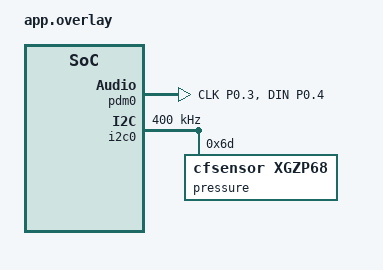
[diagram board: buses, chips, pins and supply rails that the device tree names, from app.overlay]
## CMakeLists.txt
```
cmake_minimum_required(VERSION 3.20.0)
find_package(Zephyr REQUIRED HINTS $ENV{ZEPHYR_BASE})

project(test)

include_directories(src)
file(GLOB C_SOURCES "src/*.c")
target_sources(app PRIVATE ${C_SOURCES})
```

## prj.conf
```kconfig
# PDM setup
CONFIG_AUDIO=y
CONFIG_AUDIO_DMIC=y

#LOG subsystem related configs
CONFIG_LOG=y

#net buf options
CONFIG_NET_BUF=y

CONFIG_STDOUT_CONSOLE=y
CONFIG_RING_BUFFER=y

# Math functions from CMSIS-DSP
CONFIG_CMSIS_DSP=y
CONFIG_CMSIS_DSP_TRANSFORM=y
CONFIG_CMSIS_DSP_COMPLEXMATH=y
CONFIG_CMSIS_DSP_STATISTICS=y
CONFIG_CMSIS_DSP_FILTERING=y

CONFIG_TIMING_FUNCTIONS=y

CONFIG_THREAD_NAME=y

CONFIG_SYSTEM_WORKQUEUE_STACK_SIZE=17000
```

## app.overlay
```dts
&pinctrl {
	pdm0_default_alt: pdm0_default_alt {
		group1 {
			psels = <NRF_PSEL(PDM_CLK, 0, 3)>,
				<NRF_PSEL(PDM_DIN, 0, 4)>;
		};
	};
};

dmic_dev: &pdm0 {
	status = "okay";
	pinctrl-0 = <&pdm0_default_alt>;
	pinctrl-names = "default";
	clock-source = "PCLK32M_HFXO";
	queue-size = <16>;
};

&i2c0 {
	compatible = "nordic,nrf-twim";
	status = "okay";
	pinctrl-0 = <&i2c0_default>;
	pinctrl-1 = <&i2c0_sleep>;
	pinctrl-names = "default", "sleep";
	clock-frequency = <I2C_BITRATE_FAST>;
	pressure: xgzp68@6D {
		compatible = "cfsensor,xgzp68";
		status = "okay";
		reg = <0x6D>;
	};
};
```

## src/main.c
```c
#include <zephyr/kernel.h>
#include <zephyr/timing/timing.h>
#include <tmi/api/pressure.h>

#include <zephyr/sys/ring_buffer.h>

#include "audio_settings.h"

static const struct device * pdm_dev = DEVICE_DT_GET(DT_NODELABEL(dmic_dev));
static const struct device * pressure_dev = DEVICE_DT_GET(DT_NODELABEL(pressure));

// -----------------------------------
// PDM microphone
// -----------------------------------
K_MEM_SLAB_DEFINE_STATIC(mem_slab, BLOCK_SIZE, BLOCK_COUNT, 4);
RING_BUF_ITEM_DECLARE_POW2(pdm_ring_buf, 15);

static int pdm_init(const struct device* dev) {
	int ret;

	struct pcm_stream_cfg stream = {
		.pcm_rate = SAMPLE_FREQUENCY,
		.pcm_width = SAMPLE_BIT_WIDTH,
		.block_size = BLOCK_SIZE,
		.mem_slab  = &mem_slab
	};

	struct dmic_cfg cfg = {
		.io = {
			/* These fields can be used to limit the PDM clock
				* configurations that the driver is allowed to use
				* to those supported by the microphone.
				*/
			.min_pdm_clk_freq = 1000000,
			.max_pdm_clk_freq = 4800000,
			.min_pdm_clk_dc   = 40, // Clk duty cycle, min: 40%, max: 60%
			.max_pdm_clk_dc   = 60
		},
		.streams = &stream,
		.channel = {
			.req_num_chan = 2,
			.req_num_streams = 1
		},
	};

	cfg.channel.req_chan_map_lo = dmic_build_channel_map(1, 0, PDM_CHAN_LEFT) | dmic_build_channel_map(0, 0, PDM_CHAN_RIGHT);

	printk("PCM output rate: %u, channels: %u", cfg.streams[0].pcm_rate, cfg.channel.req_num_chan);

	ret = dmic_configure(dev, &cfg);
	if (ret < 0) {
		printk("Failed to configure the driver: %d", ret);
		return ret;
	}

	ret = dmic_trigger(dev, DMIC_TRIGGER_START);
	if (ret < 0) {
		printk("START trigger failed: %d", ret);
		return ret;
	}

	return 0;
}

static int pdm_stop(const struct device* dev){
	int ret;
	ret = dmic_trigger(dev, DMIC_TRIGGER_STOP);
	return ret;
}

// -----------------------------------
// CF Sensor
// -----------------------------------

#define MY_STACK_SIZE 32000
#define MY_PRIORITY -2

K_THREAD_STACK_DEFINE(my_stack_area, MY_STACK_SIZE);

struct k_work_q my_work_q;

// Data management
float pressure_buf[16];
int count = 0;

extern int pressure_window_length;
extern int audio_window_length;
extern void predict_actuation(const int16_t* audio_data, const int audio_window_size, const float* pressure_data);

void buffer_pressure() {
	float pressure;
	//int64_t us = k_uptime_ticks() * 1000000LL / CONFIG_SYS_CLOCK_TICKS_PER_SEC;
	pressure_get(pressure_dev, &pressure);
	pressure_buf[count] = pressure;
	count++;
	// printk("%f\n", (double)pressure);

	if (count == 16){
		printk("Enough pressure data collected\n");
		// Make a copy of pressure buffer
		float tmp_pressure_buf[pressure_window_length];
		for(int i=0; i < 15; ++i){
			tmp_pressure_buf[i] = pressure_buf[i];
		}
		// Reset buf counter
		count = 0;

		printk("Retrieve audio data\n");
		// Get audio data window
		int16_t aud_buf[audio_window_length];		// NOTE: this is slightly confusing, but audio_window_length is the number of samples per window AFTER down-sampling
		int aud_bytes = ring_buf_get(&pdm_ring_buf, (uint8_t*)aud_buf, sizeof(aud_buf));

		printk("Start prediction function\n");
		// Create a thread to handle actuation prediction
		predict_actuation(aud_buf, (int)(aud_bytes/sizeof(int16_t)), tmp_pressure_buf);
	}
}

K_WORK_DEFINE(pressure_work, buffer_pressure);

void pressure_timer_handler(struct k_timer *dummy) {
    k_work_submit_to_queue(&my_work_q, &pressure_work);
}

K_TIMER_DEFINE(pressure_timer, pressure_timer_handler, NULL);

// -----------------------------------
// PDM mic audio collection thread management
// -----------------------------------
k_tid_t audio_tid = NULL;
struct k_thread audio_thread_data;

#define AUDIO_STACK_SIZE 5000
#define AUDIO_PRIORITY   -2

K_THREAD_STACK_DEFINE(audio_stack_area, AUDIO_STACK_SIZE);

/**
 * @brief Audio collection storage loop
 */
static void ac_subsys(const struct device* dev){
	int ret;

	while(1) {
		/* Read data from PDM microphone */
		uint8_t *buffer = NULL;
		uint32_t size = 0;

		ret = dmic_read(dev, 0, (void *)&buffer, &size, READ_TIMEOUT);
		if (ret < 0) {
			printk("read failed: %d\n", ret);
			return;
		}

		/* Copy data to ring buffer */
		ret = ring_buf_put(&pdm_ring_buf, buffer, size); // Returns number of bytes copied to ring buffer
		k_mem_slab_free(&mem_slab, (void *)buffer);
	}

	ret = pdm_stop(dev);
	if(ret < 0) {
		return;
	}
}

int ac_init_thread(const struct device* dev){
	int ret;
	ret = pdm_init(dev);

	audio_tid = k_thread_create(&audio_thread_data, audio_stack_area, 
								K_THREAD_STACK_SIZEOF(audio_stack_area), 
								(k_thread_entry_t)ac_subsys, 
								dev, NULL, NULL, AUDIO_PRIORITY, 0, K_MSEC(0));
    k_thread_name_set(&audio_thread_data, "Audio RX");

	return ret;
}

void ac_deinit_thread(){
	k_thread_join(audio_tid, K_MSEC(200));
	k_thread_abort(audio_tid);
}

int main(void) {
	printk("[LOG] Starting application...\n");
	int ret;

	/* Set up PDM microphone */
	printk("[LOG] PDM setup\n");

	ret = device_is_ready(pdm_dev);
	if (ret < 0) {
		printk("Device Microphone is not ready\n");
		return ret;
	}

	ret = device_is_ready(pressure_dev);
	if (ret < 0) {
		printk("Device CF Sensor is not ready\n");
		return ret;
	}

	printk("[LOG] Starting Audio thread\n");
	ret = ac_init_thread(pdm_dev);

	/* Set up pressure */
	printk("[LOG] Starting Pressure thread\n");
	k_work_queue_init(&my_work_q);
	k_work_queue_start(&my_work_q, my_stack_area,
					K_THREAD_STACK_SIZEOF(my_stack_area), MY_PRIORITY,
					NULL);
	k_timer_start(&pressure_timer, K_MSEC(5), K_MSEC(5));

	// Main while loop
	while(1){
		k_msleep(1000);
	}

	// Shouldn't reach here
	ac_deinit_thread();
	printk("[LOG] Ending application...");

	return ret;
}
```

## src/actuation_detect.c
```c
#include "actuation_detect.h"

void predict_actuation(const int16_t* audio_data, const int audio_data_cnt, const float* pressure_data){
    printk("Test\n");
    printk("%d\n", audio_data_cnt);
    // Error check
    if(audio_data_cnt != audio_window_length){
        return;
    }

    // When the first half-window of data is received store and do nothing
    if(first_window == 1){
        printk("First window received\n");
        first_window = 0;
        for(int i = 0; i < audio_data_cnt; ++i){
            prev_audio_window[i] = audio_data[i];
        }
        for(int i = 0; i < pressure_window_length; ++i){
            prev_pressure_window[i] = (float32_t)pressure_data[i];
        }

        return;
    }

    printk("Merging windows; ");
    int64_t us1 = k_uptime_ticks() * 1000000LL / CONFIG_SYS_CLOCK_TICKS_PER_SEC;
    // Merge previous half-window and new half window
    float32_t audio_window[audio_window_length*2];  // audio_window_length is num samples AFTER down sampling, mult by 2 to get current window size
    for(int i = 0; i < audio_window_length; ++i){
        audio_window[i] = prev_audio_window[i];
        audio_window[i+audio_window_length-1] = (float32_t)audio_data[i];
        prev_audio_window[i] = (float32_t)audio_data[i];
    }
    float32_t pressure_window[pressure_window_length];
    for(int i = 0; i < (int)(pressure_window_length/2); ++i){
        pressure_window[i] = prev_pressure_window[i];
        pressure_window[i+(int)(pressure_window_length/2)-1] = (float32_t)pressure_data[i];
    }
    int64_t us2 = k_uptime_ticks() * 1000000LL / CONFIG_SYS_CLOCK_TICKS_PER_SEC;
    printk("Took %lld us\n", us2-us1);

    // This should go somewhere else
    int audio_sample_rate = 8000;

    // Apply low-pass filter to audio data
    /*
    *   void arm_biquad_cascade_df2T_f32 	( 	const arm_biquad_cascade_df2T_instance_f32 *  	S,
    *       const float32_t *  	pSrc,
    *       float32_t *  	pDst,
    *       uint32_t  	blockSize 
    *   ) 	
    */
    printk("Audio filtering\n");
    float32_t audio_data_filt[audio_window_length*2];
    int audio_filter_stages = 1;
    float32_t p_state[audio_filter_stages];
    arm_biquad_cascade_df2T_instance_f32 S1 = {audio_filter_stages, p_state, audio_filter_sos};
    arm_biquad_cascade_df2T_f32(&S1, audio_window, audio_data_filt, audio_window_length*2);

    printk("Audio downsampling\n");
    // Down sample audio data
    float audio_window_dwnsmpl[audio_window_length];
    for (int i = 0; i < audio_window_length*2; i++) {
      audio_window_dwnsmpl[i] = audio_data_filt[i*2];
    }

    // Apply hanning window to audio and pressure data
    float32_t audio_signal[audio_window_length];
    arm_mult_f32(audio_window_dwnsmpl, audio_hanning_window, audio_signal, audio_window_length);

    float32_t pressure_signal[pressure_window_length];
    arm_mult_f32(pressure_window, pressure_hanning_window, pressure_signal, pressure_window_length);

    printk("FFT\n");
    // Audio FFT calculation
    int num_fft = (int)(audio_data_cnt/2);
    float32_t fft_raw[2*num_fft];
    arm_rfft_fast_instance_f32 rfft;
    arm_rfft_fast_init_f32(&rfft, num_fft);
    arm_rfft_fast_f32(&rfft, audio_signal, fft_raw, 0);

    // Get audio FFT magnitude
    float32_t fft_mag[num_fft];
    arm_cmplx_mag_f32(fft_raw, fft_mag, num_fft);

    // Initialize audio features
    float power = 0;
    float centroid = 0;

    float power_band1 = 0;
    float power_band2 = 0;

    // Numerator and denominator for spectral centroid
    float numerator = 0;
    float total_audio_power = epsilon;
    
    int min_idx = (int)(800*num_fft/audio_sample_rate);   // hacky high pass filter

    for (int i = min_idx; i < num_fft; ++i){
        numerator += audio_fft_freqs[i]*fft_mag[i];
        total_audio_power += fft_mag[i];

        power_band1 += fft_mag[i]*audio_trifils[2][i];
        power_band2 += fft_mag[i]*audio_trifils[3][i];
    }

    centroid = numerator / total_audio_power;
    float pow_centroid = centroid*power;

    // Pressure data filter
    // Apply low-pass filter to audio data
    /*
    *   void arm_biquad_cascade_df2T_f32 	( 	const arm_biquad_cascade_df2T_instance_f32 *  	S,
    *       const float32_t *  	pSrc,
    *       float32_t *  	pDst,
    *       uint32_t  	blockSize 
    *   ) 	
    */
    float32_t pressure_data_filt[pressure_window_length];
    int pressure_filter_stages = 2;
    float32_t p_state1[pressure_filter_stages];
    arm_biquad_cascade_df2T_instance_f32 S2 = {pressure_filter_stages, p_state1, pressure_filter_sos};
    arm_biquad_cascade_df2T_f32(&S2, pressure_signal, pressure_data_filt, pressure_window_length);

    // Pressure RMS
    float32_t pressure_rms;
    arm_rms_f32(pressure_data_filt, (uint32_t)pressure_window_length, &pressure_rms);

    float interaction1 = (float)(pressure_rms*total_audio_power);
    float interaction2 = (float)(pressure_rms*centroid);
    float interaction3 = (float)(pressure_rms*interaction1);

    float delta_pressure_rms = (float)(pressure_rms - prev_pressure_rms);
    float feature_vector[9] = {(float)pressure_rms, delta_pressure_rms, 
                                total_audio_power, power_band1, power_band2, 
                                pow_centroid, 
                                interaction1, interaction2, interaction3};

    printk("%d\n", model_predict(feature_vector));
    return;
}
```

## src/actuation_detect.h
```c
#pragma once

#include <math.h>
#include <zephyr/kernel.h>
#include "arm_math.h"
#include "model.h"

// Smallest possible value (prevent divide by zero errors)
const float epsilon = 0.0000000000000000000000000000000000000000001;

// Tracking of prev window data
float32_t prev_audio_window[2048];
float32_t prev_pressure_window[32];
int first_window = 1;

float32_t prev_pressure_rms = 0;

// Main feature extraction function
void predict_actuation(const int16_t* audio_data, const int audio_window_size, const float* pressure_data);
```

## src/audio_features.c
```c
#include "audio_features.h"

void zero_crossing_rate(const float frame[], const int size, float* zcr){
    // TODO
}

void rms(const float frame[], int size, float* rms){
    float tmp = 0;
    for(int i = 0; i < size; ++i){
        tmp += frame[i] * frame[i];
    }
    tmp /= size;
    tmp = sqrtf(tmp);

    *rms = tmp;
}

void spectral_centroid_spread(const float fft_magnitude[], const float f[], const int size, float* centroid, float* spread){
    float numerator = 0;
    float denominator = epsilon;
    for(int i = 0; i < size; ++i){
        numerator += f[i]*fft_magnitude[i];
        denominator += fft_magnitude[i];
    }

    *centroid = numerator / denominator;
    float sum = 0;
    for(int i = 0; i < size; ++i){
        sum += fft_magnitude[i]*fpow((f[i] - *centroid), 2);
    }

    *spread = sqrtf(sum / denominator);
}

float fpow(float val, const int pow){
    // Should use an external library for this
    // No special case consideration, no overflow protection
    for(int i = 0; i < pow; ++i){
        val *= val;
    }
    
    return val;
}

void mfcc_filter_banks(const int sampling_rate, const int num_fft, float** frequencies, float*** fbank){
    /* 
    MFCC Calculations
    Parameters:
        sampling_rate: 
        num_fft: the number of points in the fft
    Return variables (by address):
        frequencies: the centre frequencies in the filter bank
        fbank: the filter bank, 2D array of shape (filters, num_fft)
            - each filter in the MFCC filter bank is triangular with a response of 1 
            at its center frequency (stored in frequencies) and decreasing linearly towards 
            0 until the next frequency
    Adapted from https://pypi.python.org/pypi/scikits.talkbox 
    */

    float heights[num_filt_total] = {0};
    float nfreqs[num_fft] = {0};
    for(int i = 0; i < num_fft; ++i){
        nfreqs[num_fft] = ((float)i / (float)num_fft) * (float)sampling_rate;
    }
    
    // Allocate return vars
    // I hate this
    /*NOTE: I don't currently use the frequencies array for anything outside of this function, so we could
    just return the filter bank*/
    *frequencies = (float*)malloc(freq_size*sizeof(float));
    *fbank = (float**)malloc(num_filt_total*sizeof(float));
    for (int i = 0; i < num_filt_total; ++i) {
        *fbank[i] = (float *)malloc(num_fft * sizeof(float));
    }

    // Compute centre frequencies
    for(int i = 0; i < num_lin_filt; ++i){
        *frequencies[i] = lowfreq + (float)i*linc;
    }
    for(int i = num_lin_filt; i < freq_size; ++i){
        *frequencies[i] = *frequencies[num_lin_filt-1] * fpow(logsc, i-num_lin_filt+1);
    }

    // Compute the y part of the slopes
    for(int i = 0; i < num_filt_total; ++i){
        heights[i] = 2 / (*frequencies[i+2] - *frequencies[i]);
    }

    // Compute filterbank coefficients
    for(int i = 0; i < num_filt_total; ++i){
        float low_freqs  = *frequencies[i];
        float cent_freqs = *frequencies[i + 1]; // The centre frequency for the ith filter bank
        float high_freqs = *frequencies[i + 2];

        int low_id = (int)(low_freqs*num_fft/sampling_rate) + 1;    // The idx (ie the fbank column) where the triangle begins
        int cent_id = (int)(cent_freqs*num_fft/sampling_rate) + 1;  // The idx where the triangle is at its peak
        int high_id = (int)(high_freqs*num_fft/sampling_rate) + 1;  // The idx where the triangle ends

        float lslope = heights[i] / (cent_freqs - low_freqs);
        float rslope = heights[i] / (high_freqs - cent_freqs);

        // NOTE: it would be more efficient to ONLY loop through the part of fbank that is non-zero,
        // however, malloc does not necessary initialize the fbank arrays to 0
        // Should see if it is possible to initialize arrays to 0
        for(int j = 0; j < num_fft; ++j){
            if(low_id <= j && j < cent_id){
                *fbank[i][j] = lslope * (nfreqs[j] - low_freqs);
            }
            else if(cent_id <= j && j < high_id){
                *fbank[i][j] = rslope * (high_freqs - nfreqs[j]);
            }
            else{
                *fbank[i][j] = 0;
            }
        }
    }
}

void dct_type_2_ortho(const float input[], float** output, int n) {
    int fft_size = n * 2;

    float x_ext[fft_size];
    float fft_out[fft_size];

    *output = (float*)malloc(n*sizeof(float));
    
    // Create even-symmetric extension of the input
    for (int i = 0; i < n; i++) {
        x_ext[i] = input[i];
        x_ext[fft_size - 1 - i] = input[i];  // symmetric
    }

    // Compute real FFT of x_ext (length 2N)
    arm_rfft_fast_instance_f32 rfft;
    arm_rfft_fast_init_f32(&rfft, fft_size);
    arm_rfft_fast_f32(&rfft, x_ext, fft_out, 0);

    // DCT-II from FFT real part with orthonormal scaling
    // Scaling defined in https://docs.scipy.org/doc/scipy/tutorial/fft.html#type-ii-dct
    const float scale = sqrtf(1/(2 * (float)n));
    for (int k = 0; k < n; k++) {
        float re = fft_out[2 * k];
        float im = fft_out[2 * k + 1];

        // Compute twiddle factor: exp(-j * π * k / (2N))
        float theta = (PI * k) / (2.0f * N);
        float cos_theta = cosf(theta);
        float sin_theta = sinf(theta);

        // Real part of FFT[k] * twiddle[k]
        // NOTE: you can prove this by doing a binomial expansion between FFT[k] and the twiddle factor
        float dct_val = re * cos_theta + im * sin_theta;

        // Apply orthonormal normalization
        if (k == 0) {
            output[k] = dct_val * sqrtf(1.0f / (4.0f * N));
        } else {
            output[k] = dct_val * sqrtf(1.0f / (2.0f * N));
        }
    }
}

void mfcc(const float fft_magnitude[], const float** fbank, const int fft_mag_size, const int fbank_size, const int num_mfcc_feats, float** output){
    // Get correlated cepstral coefficients
    float result[fbank_size] = {0};
    for(int i = 0; i < fbank_size; ++i){
        for(int j = 0; j < fft_mag_size; ++j){
            result[i] += fft_magnitude[j]*fbank[i][j];
        }
    }

    // Decorrelate the cepstral coefficients using DCT
    float* dct;
    dct_type_2_ortho(result, dct, fbank_size);

    // Get only the first num_mfcc_feats coefficients, typically 13
    *output = (float*)malloc(num_mfcc_feats*sizeof(float));
    for(int i = 0; i < num_mfcc_feats; ++i){
        output[i] = dct[i];
    }
}

void fft_peaks(const float fft_magnitude[], const float fft_freq[], const int num_fft, const int num_peaks, float** peaks, float** peak_freqs){
    // Sort fft magnitude
    // Create an Element array to store fft mag values and the indices of each mag
    Element arr[num_fft];
    for(int i = 0; i < num_fft; ++i){
        arr[num_fft].value = fft_magnitude[i];
        arr[num_fft].original_index = i;
    }

    // Returns sorted array (of type Element) in descending order
    merge_sort(arr, 0, num_fft-1);
    *peaks = (float*)malloc(num_peaks*sizeof(float));
    *peak_freqs = (float*)malloc(num_peaks*sizeof(float));

    // Get fft peaks and associated frequencies
    for(int i = 0; i < num_peaks; ++i){
        peaks[i] = arr[i].value;
        peak_freqs[i] = fft_freq[arr[i].original_index];
    }
}

void feature_extraction(const int* window, const int window_size, const int sampling_rate, const float** mfcc_fbank, float** output){
    // Convert to float
    float window_flt[window_size] = {0};
    for(int i = 0; i < window_size; ++i){
        window_flt[i] = (float)window[i];
    }

    // Apply low-pass filter
    apply_lp_filter(window_flt, window_size);
    uint8_t numStages = 1;
    float32_t pState[1] = {0};
    float32_t pCoeffs[1] = {0};
    arm_biquad_cascade_df2T_instance_f64 S1 = {numStages, pState, pCoeffs};

    // Down sample
    float window2[window_size/2] = {0};
    for (int i = 0; i < window_size; i++) {
      window2[i] = window_flt[i*2];
    }

    // Apply hanning window
    float32_t window[window_size];
    float32_t signal[window_size];
    arm_window_hanning_f32(window, window_size);
    arm_mult_f32(window_flt, window, signal, window_size);

    // FFT calculation
    int num_fft = (int)(window_size/2);
    float32_t fft_out[num_fft];
    arm_rfft_fast_instance_f32 rfft;
    arm_rfft_fast_init_f32(&rfft, num_fft);
    arm_rfft_fast_f32(&rfft, signal, fft_out, 0);

    // Get FFT magnitude
    float32_t fft_mag[num_fft];
    // arm_cmplx_mag_f32(fft_out, )

    // Extract features
    int num_mfccs = 13;
    float* mfccs = NULL;
    mfcc(fft_out, mfcc_fbank, num_fft, )

}
```

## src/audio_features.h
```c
#pragma once

#include <math.h>
#include <zephyr/kernel.h>
#include "arm_math.h"
#include "arm_sorting.h"
#include "filter.h"
#include "merge.h"

// Smallest possible value (prevent divide by zero errors)
const float epsilon = 1/(2^52);

// MFCC consts, these should be function parameters but const for us
const float lowfreq = 133.33;
const float linc = 200/3;
const float logsc = 1.0711703;
const int num_lin_filt = 13;
const int num_log_filt = 27;
const int num_filt_total = num_lin_filt + num_log_filt;
const int freq_size = num_filt_total + 2;

// Delta tracking
float* current_window;
int first_window = 1;

// Main feature extraction function
void feature_extraction(const int* window, const int window_size, const int sampling_rate, const float** mfcc_fbank, float** output);

// Individual feature functions (called internally)
void zero_crossing_rate(const float frame[], const int size, float* zcr);
void rms(const float frame[], int size, float* rms);
void spectral_centroid_spread(const float fft_magnitude[], const float f[], const int size, float* centroid, float* spread);
void mfcc_filter_banks(const int sampling_rate, const int num_fft, float** frequencies, float*** fbank);
void mfcc(const float fft_magnitude[], const float** fbank, const int fft_mag_size, const int fbank_size, const int num_mfcc_feats, float** output);
void fft_peaks(const float fft_magnitude[], const float fft_freq[], const int num_fft, float** peaks, float** peak_freqs);

// Helper functions
float fpow(float val, const int pow);
void dct_type_2_ortho(const float input[], float** output, int n);
```

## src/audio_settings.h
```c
#pragma once
#include <zephyr/audio/dmic.h>

#define SAMPLE_FREQUENCY   16000
#define SAMPLE_BIT_WIDTH   16
#define BYTES_PER_SAMPLE   sizeof(int16_t)

#define SAMPLES_PER_BLOCK      2048
#define SAMPLES_PER_BLOCK_OPUS 2048
#define INITIAL_BLOCKS         10
#define READ_TIMEOUT           1000

#define BLOCK_SIZE      (BYTES_PER_SAMPLE * SAMPLES_PER_BLOCK)
#define BLOCK_SIZE_OPUS (BYTES_PER_SAMPLE * SAMPLES_PER_BLOCK_OPUS)
#define BLOCK_COUNT     (INITIAL_BLOCKS)
```

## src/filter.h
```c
#include <zephyr/kernel.h>

// Filled automatically by model_exporter.py
// Model ID: 20250716_1

const float filters_sos[6] = {0.49999999999999994, 0.49999999999999994, 0.0, 1.0, -5.551115123125783e-17, 0.0};
```

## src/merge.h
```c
#pragma once

typedef struct {
    int value;
    int original_index;
} Element;

// Function to merge two sorted subarrays
void merge(Element arr[], int l, int m, int r) {
    int i, j, k;
    int n1 = m - l + 1;
    int n2 = r - m;

    // Create temporary arrays
    Element L[n1], R[n2];

    // Copy data to temporary arrays L[] and R[]
    for (i = 0; i < n1; i++)
        L[i] = arr[l + i];
    for (j = 0; j < n2; j++)
        R[j] = arr[m + 1 + j];

    // Merge the temporary arrays back into arr[l..r]
    i = 0; // Initial index of first subarray
    j = 0; // Initial index of second subarray
    k = l; // Initial index of merged subarray
    while (i < n1 && j < n2) {
        if (L[i].value >= R[j].value) {
            arr[k] = L[i];
            i++;
        } else {
            arr[k] = R[j];
            j++;
        }
        k++;
    }

    // Copy the remaining elements of L[], if any
    while (i < n1) {
        arr[k] = L[i];
        i++;
        k++;
    }

    // Copy the remaining elements of R[], if any
    while (j < n2) {
        arr[k] = R[j];
        j++;
        k++;
    }
}

// Main function that implements merge sort
void merge_sort(Element arr[], int l, int r) {
    if (l < r) {
        int m = l + (r - l) / 2;

        // Sort first and second halves
        merge_sort(arr, l, m);
        merge_sort(arr, m + 1, r);

        merge(arr, l, m, r);
    }
}
```

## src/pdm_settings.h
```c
#pragma once

#define SAMPLE_FREQUENCY   16000
#define SAMPLE_BIT_WIDTH   16
#define BYTES_PER_SAMPLE   sizeof(int16_t)
#define NUMBER_OF_CHANNELS 1

// F/50 = 20 ms
#define SAMPLES_PER_BLOCK      ((SAMPLE_FREQUENCY / 50) * NUMBER_OF_CHANNELS)
#define SAMPLES_PER_BLOCK_OPUS ((SAMPLE_FREQUENCY / 50) * NUMBER_OF_CHANNELS)
#define INITIAL_BLOCKS         20
#define READ_TIMEOUT           1000

#define BLOCK_SIZE      (BYTES_PER_SAMPLE * SAMPLES_PER_BLOCK)
#define BLOCK_SIZE_OPUS (BYTES_PER_SAMPLE * SAMPLES_PER_BLOCK_OPUS)
#define BLOCK_COUNT     (INITIAL_BLOCKS)
```
